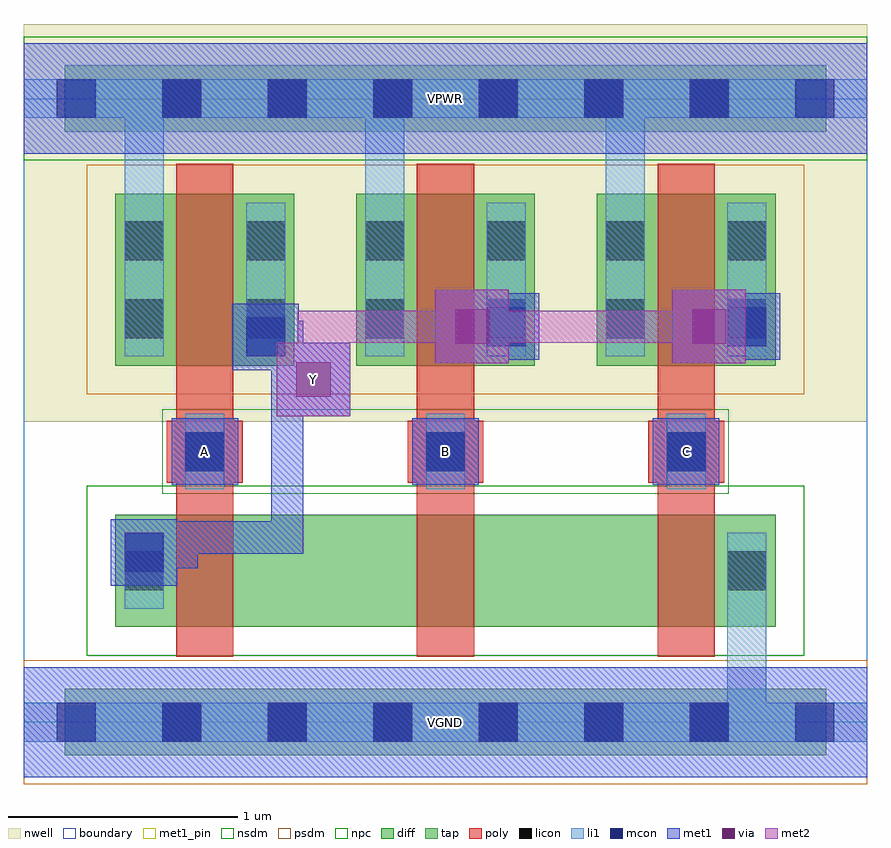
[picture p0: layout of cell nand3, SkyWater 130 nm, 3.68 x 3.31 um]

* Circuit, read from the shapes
.subckt nand3 A B C VGND VPWR Y
XM1 n1 A Y VGND sky130_fd_pr__nfet_01v8 w=0.49 l=0.25
XM2 n2 B n1 VGND sky130_fd_pr__nfet_01v8 w=0.49 l=0.25
XM3 VGND C n2 VGND sky130_fd_pr__nfet_01v8 w=0.49 l=0.25
XM4 Y A VPWR VPWR sky130_fd_pr__pfet_01v8 w=0.75 l=0.25
XM5 Y B VPWR VPWR sky130_fd_pr__pfet_01v8 w=0.75 l=0.25
XM6 Y C VPWR VPWR sky130_fd_pr__pfet_01v8 w=0.75 l=0.25
.ends

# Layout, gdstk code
import gdstk
lib = gdstk.Library(unit=1e-6, precision=1e-09)
def R(c, l, rs):  # rectangles x0, y0, x1, y1
    for r in rs: c.add(gdstk.rectangle(r[:2], r[2:], *l))
def A(c, l, x, y, w, h, nx, ny, dx, dy):  # array of equal rectangles
    R(c, l, [(x+i*dx, y+j*dy, x+i*dx+w, y+j*dy+h) for i in range(nx) for j in range(ny)])
nwell = (64, 20)
diff = (65, 20)
tap = (65, 44)
poly = (66, 20)
licon = (66, 44)
li1 = (67, 20)
mcon = (67, 44)
met1_pin = (68, 16)
met1 = (68, 20)
via = (68, 44)
met2 = (69, 20)
nsdm = (93, 44)
psdm = (94, 20)
npc = (95, 20)
boundary = (235, 4)

nand3 = lib.new_cell('nand3')
R(nand3, nwell, [(0,1.31,3.68,3.045)])
A(nand3, diff, 0.4, 1.555, 0.78, 0.75, 3, 1, 1.05, 0)
R(nand3, diff, [(0.4,0.415,3.28,0.905)])
R(nand3, tap, [(0.18,-0.145,3.5,0.145), (0.18,2.575,3.5,2.865)])
A(nand3, poly, 0.665, 0.285, 0.25, 2.15, 3, 1, 1.05, 0)
A(nand3, poly, 0.625, 1.045, 0.33, 0.27, 3, 1, 1.05, 0)
A(nand3, licon, 0.605, -0.085, 0.17, 0.17, 6, 2, 0.46, 2.72)
A(nand3, licon, 0.705, 1.095, 0.17, 0.17, 3, 1, 1.05, 0)
R(nand3, licon, [(0.44,0.575,0.61,0.745), (3.07,0.575,3.24,0.745), (0.44,1.675,0.61,1.845), (0.97,1.675,1.14,1.845), (1.49,1.675,1.66,1.845), (2.02,1.675,2.19,1.845), (2.54,1.675,2.71,1.845), (3.07,1.675,3.24,1.845), (0.44,2.015,0.61,2.185), (0.97,2.015,1.14,2.185), (1.49,2.015,1.66,2.185), (2.02,2.015,2.19,2.185), (2.54,2.015,2.71,2.185), (3.07,2.015,3.24,2.185)])
A(nand3, li1, 0.705, 1.015, 0.17, 0.33, 3, 1, 1.05, 0)
A(nand3, li1, 0.44, 1.595, 0.17, 1.21, 3, 1, 1.05, 0)
R(nand3, li1, [(0,-0.085,3.68,0.085), (3.07,-0.085,3.24,0.825), (0.44,0.495,0.61,0.825), (3.07,0.495,3.24,0.825), (0.44,1.595,0.61,2.265), (0.97,1.595,1.14,2.265), (1.49,1.595,1.66,2.265), (2.02,1.595,2.19,2.265), (2.54,1.595,2.71,2.265), (3.07,1.595,3.24,2.265), (0,2.635,3.68,2.805)])
A(nand3, mcon, 0.145, -0.085, 0.17, 0.17, 8, 2, 0.46, 2.72)
A(nand3, mcon, 0.705, 1.095, 0.17, 0.17, 3, 1, 1.05, 0)
R(nand3, mcon, [(0.44,0.655,0.61,0.825), (0.97,1.595,1.14,1.765), (2.02,1.64,2.19,1.81), (3.07,1.64,3.24,1.81)])
A(nand3, met1_pin, 0.645, 1.035, 0.29, 0.29, 3, 1, 1.05, 0)
R(nand3, met1_pin, [(0,-0.24,3.68,0.24), (1.105,1.335,1.425,1.655), (0,2.48,3.68,2.96)])
A(nand3, met1, 0.645, 1.035, 0.29, 0.29, 3, 1, 1.05, 0)
R(nand3, met1, [(0,-0.24,3.68,0.24), (0.38,0.595,0.67,0.885), (0.455,0.67,0.76,0.81), (0.62,0.67,0.76,0.875), (0.62,0.735,1.22,0.875), (1.08,0.735,1.22,1.565), (1.105,1.335,1.425,1.655), (1.08,1.425,1.22,1.75), (1.08,1.425,1.335,1.565), (0.91,1.535,1.2,1.825), (1.795,1.565,2.115,1.885), (2.83,1.565,3.15,1.885), (1.96,1.58,2.25,1.87), (3.01,1.58,3.3,1.87), (0.985,1.61,1.22,1.75), (1.885,1.655,2.175,1.795), (2.92,1.655,3.225,1.795), (0,2.48,3.68,2.96)])
R(nand3, via, [(1.19,1.42,1.34,1.57), (1.88,1.65,2.03,1.8), (2.915,1.65,3.065,1.8)])
R(nand3, met2, [(1.105,1.335,1.425,1.655), (1.195,1.425,1.335,1.795), (1.795,1.565,2.115,1.885), (2.83,1.565,3.15,1.885), (1.195,1.655,2.025,1.795), (1.885,1.655,3.06,1.795)])
R(nand3, nsdm, [(0.275,0.29,3.405,1.03), (0,2.45,3.68,2.99)])
R(nand3, psdm, [(0,-0.27,3.68,0.27), (0.275,1.43,3.405,2.43)])
R(nand3, npc, [(0.605,0.995,3.075,1.365)])
R(nand3, boundary, [(0,0,3.68,2.72)])
nand3.add(gdstk.Label('A', (0.79,1.18), layer=68, texttype=5))
nand3.add(gdstk.Label('B', (1.84,1.18), layer=68, texttype=5))
nand3.add(gdstk.Label('C', (2.89,1.18), layer=68, texttype=5))
nand3.add(gdstk.Label('Y', (1.265,1.495), layer=68, texttype=5))
nand3.add(gdstk.Label('VPWR', (1.84,2.72), layer=68, texttype=5))
nand3.add(gdstk.Label('VGND', (1.84,0), layer=68, texttype=5))
nand3.add(gdstk.Label('A', (0.79,1.18), layer=68, texttype=16))
nand3.add(gdstk.Label('B', (1.84,1.18), layer=68, texttype=16))
nand3.add(gdstk.Label('C', (2.89,1.18), layer=68, texttype=16))
nand3.add(gdstk.Label('Y', (1.265,1.495), layer=68, texttype=16))
nand3.add(gdstk.Label('VPWR', (1.84,2.72), layer=68, texttype=16))
nand3.add(gdstk.Label('VGND', (1.84,0), layer=68, texttype=16))

lib.write_gds('nand3.gds')
